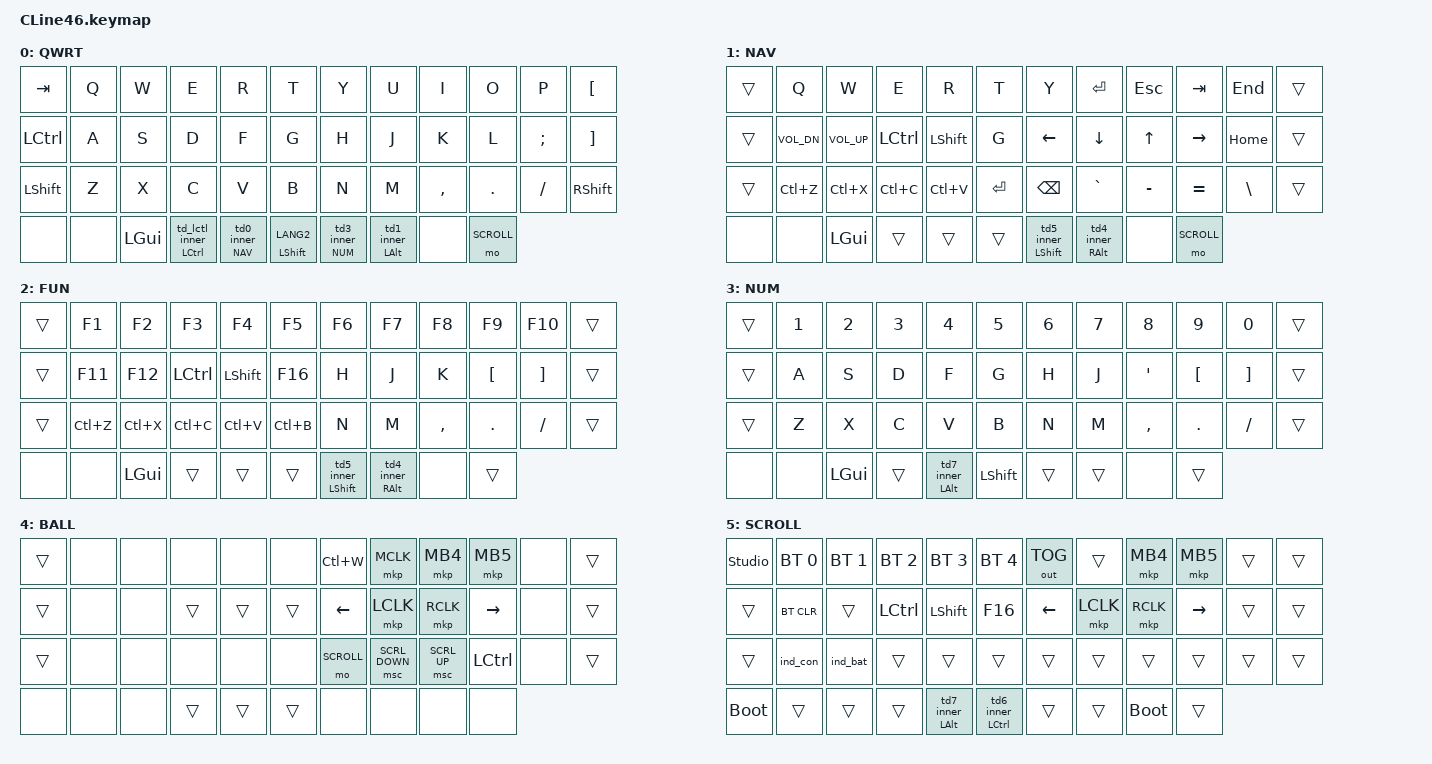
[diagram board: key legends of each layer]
// CLine46 keymap — Keyball44 (zmk-config-Keyball44) からの移植版。
//
// Keyball44 = 6列/側 x 3段 + 親指 5+3 = 44キー
// CLine46   = 6列/側 x 3段 + 親指 6+4 = 46キー
// 上段3段は 1:1 で対応する。親指は物理 x 座標で対応付けた:
//   CLine46 p37..p41 ← Keyball44 の左親指5キー
//   CLine46 p42,p43,p45 ← Keyball44 の右親指3キー
//   CLine46 p36(左最外), p44(右) は Keyball44 に無い余りキー
// Keyball44 では &none だった外側の列 (p0/p11/p12/p23/p24/p35) は
// CLine46 の割当 (TAB / [ / LCTRL / ] / LSHIFT / RSHIFT) を全レイヤーで活かす。

#define DEFAULT 0
#define NAV     1
#define FUN     2
#define NUM     3
#define BALL    4
#define SCROLL  5

#include <behaviors.dtsi>
#include <behaviors/rgbled_widget.dtsi>
#include <input/processors.dtsi>
#include <dt-bindings/zmk/input_transform.h>
#include <zephyr/dt-bindings/input/input-event-codes.h>
#include <dt-bindings/zmk/bt.h>
#include <dt-bindings/zmk/keys.h>
#include <dt-bindings/zmk/outputs.h>
#include <dt-bindings/zmk/pointing.h>

&lt {
    tapping-term-ms = <180>;
    flavor = "hold-preferred";
    quick-tap-ms = <150>;
    require-prior-idle-ms = <80>;
};

&mt {
    tapping-term-ms = <180>;
    flavor = "hold-preferred";
    quick-tap-ms = <150>;
    require-prior-idle-ms = <80>;
};

&caps_word { continue-list = <UNDERSCORE MINUS>; };

/ {
    combos {
        compatible = "zmk,combos";

        tab {
            bindings = <&kp TAB>;
            key-positions = <11 12>;
        };

        shift_tab {
            bindings = <&kp LS(TAB)>;
            key-positions = <12 13>;
        };
    };

    behaviors {
        // === 左親指キー: hold=引数のmod(LCTRL) / 1タップ=無反応 / 2タップ=LC(LSHFT) ===
        // (旧 td_ball。BALL 層とは無関係のため改名)
        td_lctl_inner: td_lctl_inner {
            compatible = "zmk,behavior-tap-dance";
            #binding-cells = <0>;
            tapping-term-ms = <250>;
            bindings = <&none>, <&kp LC(LSHFT)>;
        };
        td_lctl: td_lctl {
            compatible = "zmk,behavior-hold-tap";
            #binding-cells = <2>;
            flavor = "hold-preferred";
            tapping-term-ms = <250>;
            quick-tap-ms = <250>;
            require-prior-idle-ms = <80>;
            bindings = <&kp>, <&td_lctl_inner>;
        };

        // === Vial tap-dance 再現 (逆ネスト方式 + quick-tap-ms) ===
        // 外側 hold-tap（hold判定をpress時点で確立 → ホールド+他キー即動作）
        // 内側 tap-dance（tap時に多重押下で2nd-action発動）
        // quick-tap-ms により「タップ→ホールド」も内側で正しく検出

        // --- 内側 tap-dance: tap時の単押し/連打分岐 ---
        td0_inner: td0_inner {
            compatible = "zmk,behavior-tap-dance";
            #binding-cells = <0>;
            tapping-term-ms = <250>;
            bindings = <&kp SPACE>, <&mo FUN>;
        };
        td1_inner: td1_inner {
            compatible = "zmk,behavior-tap-dance";
            #binding-cells = <0>;
            tapping-term-ms = <250>;
            bindings = <&kp SPACE>, <&kp LSHFT>;
        };
        td2_inner: td2_inner {
            compatible = "zmk,behavior-tap-dance";
            #binding-cells = <0>;
            tapping-term-ms = <250>;
            bindings = <&kp LANG2>, <&kp LCTRL>;
        };
        td3_inner: td3_inner {
            compatible = "zmk,behavior-tap-dance";
            #binding-cells = <0>;
            tapping-term-ms = <250>;
            bindings = <&kp LANG1>, <&kp LCTRL>;
        };
        td4_inner: td4_inner {
            compatible = "zmk,behavior-tap-dance";
            #binding-cells = <0>;
            tapping-term-ms = <250>;
            bindings = <&none>, <&sk RA(RSHFT)>;
        };
        td5_inner: td5_inner {
            compatible = "zmk,behavior-tap-dance";
            #binding-cells = <0>;
            tapping-term-ms = <250>;
            bindings = <&kp DEL>, <&kp LCTRL>;
        };
        td6_inner: td6_inner {
            compatible = "zmk,behavior-tap-dance";
            #binding-cells = <0>;
            tapping-term-ms = <250>;
            bindings = <&none>, <&kp LSHFT>;
        };
        td7_inner: td7_inner {
            compatible = "zmk,behavior-tap-dance";
            #binding-cells = <0>;
            tapping-term-ms = <250>;
            bindings = <&none>, <&kp LSHFT>;
        };

        // --- 外側 hold-tap: hold-preferred+quick-tap-ms で全機能を両立 ---
        td0: td0 { // hold=MO(layer), tap=td0_inner / 呼出: &td0 NAV 0
            compatible = "zmk,behavior-hold-tap";
            #binding-cells = <2>;
            flavor = "hold-preferred";
            tapping-term-ms = <250>;
            quick-tap-ms = <250>;
            require-prior-idle-ms = <80>;
            bindings = <&mo>, <&td0_inner>;
        };
        td1: td1 { // hold=&kp(mod), tap=td1_inner / 呼出: &td1 LALT 0
            compatible = "zmk,behavior-hold-tap";
            #binding-cells = <2>;
            flavor = "hold-preferred";
            tapping-term-ms = <250>;
            quick-tap-ms = <250>;
            require-prior-idle-ms = <80>;
            bindings = <&kp>, <&td1_inner>;
        };
        td2: td2 { // 呼出: &td2 FUN 0
            compatible = "zmk,behavior-hold-tap";
            #binding-cells = <2>;
            flavor = "hold-preferred";
            tapping-term-ms = <250>;
            quick-tap-ms = <250>;
            require-prior-idle-ms = <80>;
            bindings = <&mo>, <&td2_inner>;
        };
        td3: td3 { // 呼出: &td3 NUM 0
            compatible = "zmk,behavior-hold-tap";
            #binding-cells = <2>;
            flavor = "hold-preferred";
            tapping-term-ms = <250>;
            quick-tap-ms = <250>;
            require-prior-idle-ms = <80>;
            bindings = <&mo>, <&td3_inner>;
        };
        td4: td4 { // 呼出: &td4 RALT 0
            compatible = "zmk,behavior-hold-tap";
            #binding-cells = <2>;
            flavor = "hold-preferred";
            tapping-term-ms = <250>;
            quick-tap-ms = <250>;
            require-prior-idle-ms = <80>;
            bindings = <&kp>, <&td4_inner>;
        };
        td5: td5 { // 呼出: &td5 LSHFT 0
            compatible = "zmk,behavior-hold-tap";
            #binding-cells = <2>;
            flavor = "hold-preferred";
            tapping-term-ms = <250>;
            quick-tap-ms = <250>;
            require-prior-idle-ms = <80>;
            bindings = <&kp>, <&td5_inner>;
        };
        td6: td6 { // 呼出: &td6 LCTRL 0
            compatible = "zmk,behavior-hold-tap";
            #binding-cells = <2>;
            flavor = "hold-preferred";
            tapping-term-ms = <250>;
            quick-tap-ms = <250>;
            require-prior-idle-ms = <80>;
            bindings = <&kp>, <&td6_inner>;
        };
        td7: td7 { // 呼出: &td7 LALT 0
            compatible = "zmk,behavior-hold-tap";
            #binding-cells = <2>;
            flavor = "hold-preferred";
            tapping-term-ms = <250>;
            quick-tap-ms = <250>;
            require-prior-idle-ms = <80>;
            bindings = <&kp>, <&td7_inner>;
        };
    };

    keymap {
        compatible = "zmk,keymap";

        // L0: 英字 / 親指: td0=NAV, mt=LSHFT, td3=NUM, td1=LALT
        default_layer {
            display-name = "QWRT";
            bindings = <
&kp TAB             &kp Q               &kp W               &kp E               &kp R               &kp T      &kp Y               &kp U               &kp I               &kp O               &kp P               &kp LEFT_BRACKET
&kp LCTRL           &kp A               &kp S               &kp D               &kp F               &kp G      &kp H               &kp J               &kp K               &kp L               &kp SEMI            &kp RIGHT_BRACKET
&kp LSHIFT          &kp Z               &kp X               &kp C               &kp V               &kp B      &kp N               &kp M               &kp COMMA           &kp DOT             &kp FSLH            &kp RSHIFT
&none               &none               &kp LGUI            &td_lctl LCTRL 0    &td0 NAV 0          &mt LSHFT LANG2      &td3 NUM 0          &td1 LALT 0         &none               &mo SCROLL
            >;
        };

        // L1: ナビ / 音量 / コピペ
        nav_layer {
            display-name = "NAV";
            bindings = <
&trans              &kp Q               &kp W               &kp E               &kp R               &kp T      &kp Y               &kp ENTER           &kp ESC             &kp TAB             &kp END             &trans
&trans              &kp C_VOL_DN        &kp C_VOL_UP        &kp LCTRL           &kp LSHFT           &kp G      &kp LEFT            &kp DOWN            &kp UP              &kp RIGHT           &kp HOME            &trans
&trans              &kp LC(Z)           &kp LC(X)           &kp LC(C)           &kp LC(V)           &kp ENTER      &kp BSPC            &kp GRAVE           &kp MINUS           &kp EQUAL           &kp BSLH            &trans
&none               &none               &kp LGUI            &trans              &trans              &trans      &td5 LSHFT 0        &td4 RALT 0         &none               &mo SCROLL
            >;
        };

        // L2: F-key / マウスホイール / マウスボタン
        fun_layer {
            display-name = "FUN";
            bindings = <
&trans              &kp F1              &kp F2              &kp F3              &kp F4              &kp F5      &kp F6              &kp F7              &kp F8              &kp F9              &kp F10             &trans
&trans              &kp F11             &kp F12             &kp LCTRL           &kp LSHFT           &kp F16      &kp H               &kp J               &kp K               &kp LBKT            &kp RBKT            &trans
&trans              &kp LC(Z)           &kp LC(X)           &kp LC(C)           &kp LC(V)           &kp LC(B)      &kp N               &kp M               &kp COMMA           &kp DOT             &kp FSLH            &trans
&none               &none               &kp LGUI            &trans              &trans              &trans      &td5 LSHFT 0        &td4 RALT 0         &none               &trans
            >;
        };

        // L3: 数字行 / td7=&kp LALT
        num_layer {
            display-name = "NUM";
            bindings = <
&trans              &kp N1              &kp N2              &kp N3              &kp N4              &kp N5      &kp N6              &kp N7              &kp N8              &kp N9              &kp N0              &trans
&trans              &kp A               &kp S               &kp D               &kp F               &kp G      &kp H               &kp J               &kp SQT             &kp LBKT            &kp RBKT            &trans
&trans              &kp Z               &kp X               &kp C               &kp V               &kp B      &kp N               &kp M               &kp COMMA           &kp DOT             &kp FSLH            &trans
&none               &none               &kp LGUI            &trans              &td7 LALT 0         &kp LSHFT      &trans              &trans              &none               &trans
            >;
        };

        // L4: BALL (マウスボタン / スクロール起動) — ボール移動で自動的に入る
        ball_layer {
            display-name = "BALL";
            bindings = <
&trans              &none               &none               &none               &none               &none      &kp LC(W)           &mkp MCLK           &mkp MB4            &mkp MB5            &none               &trans
&trans              &none               &none               &trans              &trans              &trans      &kp LEFT            &mkp LCLK           &mkp RCLK           &kp RIGHT           &none               &trans
&trans              &none               &none               &none               &none               &none      &mo SCROLL          &msc SCRL_DOWN      &msc SCRL_UP        &kp LCTRL           &none               &trans
&none               &none               &none               &trans              &trans              &trans      &none               &none               &none               &none
            >;
        };

        // L5: SCROLL (BT/出力切替 / 方向スクロール / bootloader / studio unlock)
        scroll_layer {
            display-name = "SCROLL";
            bindings = <
&studio_unlock      &bt BT_SEL 0        &bt BT_SEL 1        &bt BT_SEL 2        &bt BT_SEL 3        &bt BT_SEL 4      &out OUT_TOG        &trans              &mkp MB4            &mkp MB5            &trans              &trans
&trans              &bt BT_CLR          &trans              &kp LCTRL           &kp LSHFT           &kp F16      &kp LEFT            &mkp LCLK           &mkp RCLK           &kp RIGHT           &trans              &trans
&trans              &ind_con            &ind_bat            &trans              &trans              &trans      &trans              &trans              &trans              &trans              &trans              &trans
&bootloader         &trans              &trans              &trans              &td7 LALT 0         &td6 LCTRL 0      &trans              &trans              &bootloader         &trans
            >;
        };
    };
};
